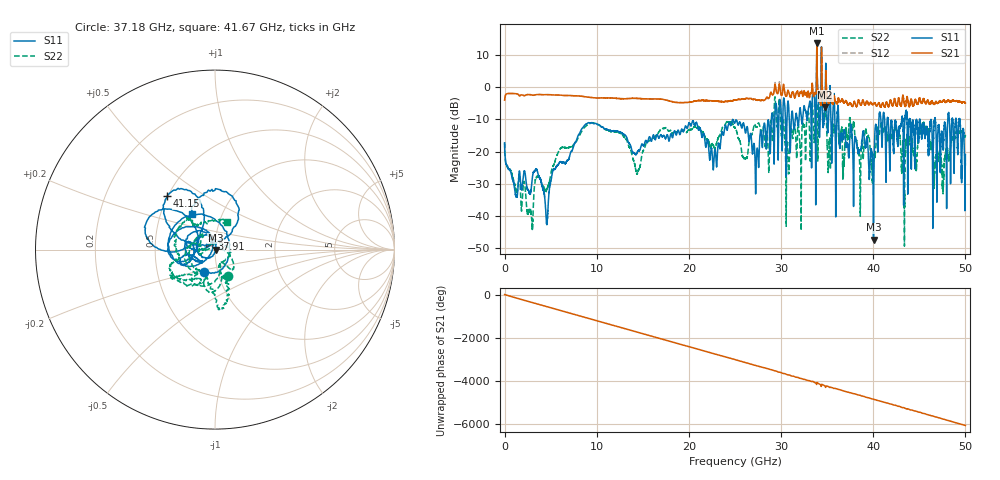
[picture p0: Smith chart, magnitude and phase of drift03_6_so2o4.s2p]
!Created with skrf (http://scikit-rf.org).
# Hz S RI R 50.0
!freq ReS11 ImS11 ReS21 ImS21 ReS12 ImS12 ReS22 ImS22
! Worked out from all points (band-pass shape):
!   10001 points, 300 kHz to 50 GHz, reference 50 ohm
!   highest |S21| = 13.51 dB at 33.88 GHz (marker M1); lowest = -6.3 dB at 34.8 GHz (marker M2)
!   |S21| within 3 dB of the highest: 33.86923 GHz to 33.88978 GHz (20.55 MHz wide, 0.0606 % of centre); 34.37643 GHz to 34.39148 GHz (15.05 MHz wide, 0.0438 % of centre)
!   lowest |S11| = -47.3 dB at 40.03 GHz (marker M3), VSWR 1.01, Z = 50.4 - j0.241 ohm
!   |S11| at or under -10 dB: start of sweep to 28.94 GHz; 36.26 GHz to 40.61 GHz (4.356 GHz wide, 11.3 % of centre); 45.05 GHz to 46.66 GHz (1.615 GHz wide, 3.52 % of centre) (the widest 3 of 45)
!   |S22| runs from -49.3 to 9.9 dB; largest |S21 - S12| = 0.75
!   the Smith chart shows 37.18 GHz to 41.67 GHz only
!   S11 on the Smith chart (normalised r, x): 37.18 GHz: 0.86, -0.22; 37.91 GHz: 0.96, +0.12; 41.15 GHz: 0.50, +0.35; 41.67 GHz: 0.72, +0.30
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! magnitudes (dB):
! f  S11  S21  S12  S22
! 300 kHz  -17.3  -4.0  -4.1  -17.1
! 2.84 GHz  -32.5  -2.4  -2.4  -39.0
! 4.585 GHz  -41.9  -2.3  -2.3  -31.7
! 8.335 GHz  -13.1  -2.9  -2.8  -13.9
! 14.43 GHz  -20.0  -3.5  -3.5  -26.6
! 16.67 GHz  -15.5  -3.7  -3.7  -14.3
! 22.82 GHz  -19.4  -4.3  -4.3  -18.9
! 25 GHz  -11.0  -4.0  -4.0  -12.6
! 27.39 GHz  -19.3  -4.1  -4.1  -12.3
! 29.6 GHz  -10.4  -2.0  -2.1  -11.8
! 30.7 GHz  -5.6  -1.4  -1.5  -17.1
! 33.34 GHz  -13.3  -0.6  -0.7  -7.6
! 33.88 GHz  14.4  13.5  13.2  9.9
! 34.8 GHz  -2.3  -6.3  -4.8  -8.7
! 37.18 GHz  -17.3  -5.1  -5.1  -15.8
! 37.91 GHz  -23.9  -4.7  -4.8  -10.9
! 40.03 GHz  -47.3  -5.3  -5.3  -21.9
! 41.15 GHz  -7.9  -5.8  -5.8  -13.3
! 41.67 GHz  -12.5  -6.1  -6.0  -15.3
! 45.52 GHz  -12.9  -3.9  -3.9  -11.5
! 47.58 GHz  -19.5  -4.2  -4.2  -29.2
! 50 GHz  -20.9  -4.9  -4.9  -15.1
